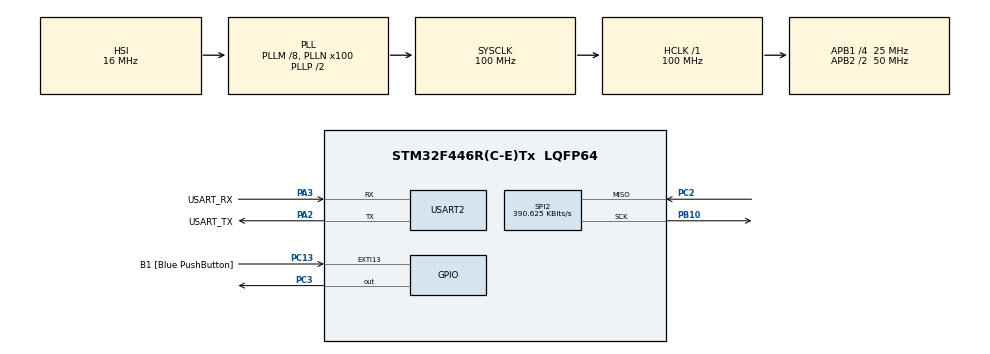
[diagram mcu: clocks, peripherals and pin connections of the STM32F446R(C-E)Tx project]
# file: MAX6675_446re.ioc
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Mcu.Family=STM32F4
Mcu.Name=STM32F446R(C-E)Tx
Mcu.Package=LQFP64
NVIC.PriorityGroup=NVIC_PRIORITYGROUP_0
NVIC.SPI2_IRQn=true\:0\:0\:false\:false\:true\:true\:true
PA13.GPIO_Label=TMS
PA13.Mode=Serial_Wire
PA13.Signal=SYS_JTMS-SWDIO
PA14.GPIO_Label=TCK
PA14.Mode=Serial_Wire
PA14.Signal=SYS_JTCK-SWCLK
PA2.GPIO_Label=USART_TX
PA2.Mode=Asynchronous
PA2.Signal=USART2_TX
PA3.GPIO_Label=USART_RX
PA3.Mode=Asynchronous
PA3.Signal=USART2_RX
PB10.GPIO_PuPd=GPIO_PULLUP
PB10.Mode=RX_Only_Simplex_Unidirect_Master
PB10.Signal=SPI2_SCK
PB3.GPIO_Label=SWO
PB3.Signal=SYS_JTDO-SWO
PC13.GPIO_Label=B1 [Blue PushButton]
PC13.GPIO_ModeDefaultEXTI=GPIO_MODE_IT_FALLING
PC13.Signal=GPXTI13
PC14-OSC32_IN.Mode=LSE-External-Oscillator
PC14-OSC32_IN.Signal=RCC_OSC32_IN
PC15-OSC32_OUT.Mode=LSE-External-Oscillator
PC15-OSC32_OUT.Signal=RCC_OSC32_OUT
PC2.GPIO_PuPd=GPIO_PULLDOWN
PC2.Mode=RX_Only_Simplex_Unidirect_Master
PC2.Signal=SPI2_MISO
PC3.Signal=GPIO_Output
PH0-OSC_IN.Mode=HSE-External-Oscillator
PH0-OSC_IN.Signal=RCC_OSC_IN
PH1-OSC_OUT.Mode=HSE-External-Oscillator
PH1-OSC_OUT.Signal=RCC_OSC_OUT
ProjectManager.HeapSize=0x200
ProjectManager.StackSize=0x400
ProjectManager.TargetToolchain=MDK-ARM V5.27
RCC.48MHZClocksFreq_Value=84000000
RCC.AHBFreq_Value=100000000
RCC.APB1CLKDivider=RCC_HCLK_DIV4
RCC.APB1Freq_Value=25000000
RCC.APB1TimFreq_Value=50000000
RCC.APB2CLKDivider=RCC_HCLK_DIV2
RCC.APB2Freq_Value=50000000
RCC.APB2TimFreq_Value=100000000
RCC.CortexFreq_Value=100000000
RCC.FLatency-AdvancedSettings=FLASH_LATENCY_3
RCC.HCLKFreq_Value=100000000
RCC.HSE_VALUE=8000000
RCC.HSI_VALUE=16000000
RCC.PLLM=8
RCC.PLLN=100
RCC.SYSCLKFreq_VALUE=100000000
RCC.SYSCLKSource=RCC_SYSCLKSOURCE_PLLCLK
RCC.USBFreq_Value=100000000
RCC.VCOOutputFreq_Value=200000000
SPI2.BaudRatePrescaler=SPI_BAUDRATEPRESCALER_64
SPI2.CalculateBaudRate=390.625 KBits/s
SPI2.DataSize=SPI_DATASIZE_8BIT
SPI2.Direction=SPI_DIRECTION_2LINES_RXONLY
SPI2.Mode=SPI_MODE_MASTER
SPI2.VirtualType=VM_MASTER
USART2.VirtualMode=VM_ASYNC
board=NUCLEO-F446RE

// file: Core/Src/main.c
/* USER CODE BEGIN Header */
/**
  ******************************************************************************
  * @file           : main.c
  * @brief          : Main program body
  ******************************************************************************
  * @attention
  *
  * <h2><center>&copy; Copyright (c) 2020 STMicroelectronics.
  * All rights reserved.</center></h2>
  *
  * This software component is licensed by ST under BSD 3-Clause license,
  * the "License"; You may not use this file except in compliance with the
  * License. You may obtain a copy of the License at:
  *                        opensource.org/licenses/BSD-3-Clause
  *
  ******************************************************************************
  */
/* USER CODE END Header */
#include "main.h"

SPI_HandleTypeDef hspi2;

UART_HandleTypeDef huart2;

/* USER CODE BEGIN PV */
uint8_t spirx_buff[2];
uint16_t temp=0;
uint16_t temperature=0;
/* USER CODE END PV */

void SystemClock_Config(void);
static void MX_GPIO_Init(void);
static void MX_USART2_UART_Init(void);
static void MX_SPI2_Init(void);

int main(void)
{

  /* MCU Configuration--------------------------------------------------------*/

  /* Reset of all peripherals, Initializes the Flash interface and the Systick. */
  HAL_Init();

  /* Configure the system clock */
  SystemClock_Config();

  /* Initialize all configured peripherals */
  MX_GPIO_Init();
  MX_USART2_UART_Init();
  MX_SPI2_Init();

  /* Infinite loop */
  /* USER CODE BEGIN WHILE */
  while (1)
  {
		HAL_GPIO_WritePin(GPIOC,GPIO_PIN_3,GPIO_PIN_SET);
	  HAL_Delay(1);
		if(HAL_SPI_GetState(&hspi2) != HAL_SPI_STATE_BUSY_RX)
		{
			HAL_GPIO_WritePin(GPIOC,GPIO_PIN_3,GPIO_PIN_RESET);
			HAL_Delay(1);

			if(HAL_SPI_GetState(&hspi2) == HAL_SPI_STATE_READY)
			{
			if(HAL_SPI_Receive(&hspi2,spirx_buff,2,10)!= HAL_OK)
			{
				Error_Handler();
			}
			}
		}
		HAL_GPIO_WritePin(GPIOC,GPIO_PIN_3,GPIO_PIN_SET);
		HAL_Delay(1);
		temp =  spirx_buff[0]<<8;
		temp =  temp|spirx_buff[1];
		temp = temp>>3;
		temperature=temp*0.25;
		HAL_UART_Transmit(&huart2,(uint8_t *)&temperature,2,10);
		HAL_Delay(500);

    /* USER CODE END WHILE */

  }
}

void SystemClock_Config(void)
{
  RCC_OscInitTypeDef RCC_OscInitStruct = {0};
  RCC_ClkInitTypeDef RCC_ClkInitStruct = {0};

  /** Configure the main internal regulator output voltage
  */
  __HAL_RCC_PWR_CLK_ENABLE();
  __HAL_PWR_VOLTAGESCALING_CONFIG(PWR_REGULATOR_VOLTAGE_SCALE3);
  /** Initializes the RCC Oscillators according to the specified parameters
  * in the RCC_OscInitTypeDef structure.
  */
  RCC_OscInitStruct.OscillatorType = RCC_OSCILLATORTYPE_HSI;
  RCC_OscInitStruct.HSIState = RCC_HSI_ON;
  RCC_OscInitStruct.HSICalibrationValue = RCC_HSICALIBRATION_DEFAULT;
  RCC_OscInitStruct.PLL.PLLState = RCC_PLL_ON;
  RCC_OscInitStruct.PLL.PLLSource = RCC_PLLSOURCE_HSI;
  RCC_OscInitStruct.PLL.PLLM = 8;
  RCC_OscInitStruct.PLL.PLLN = 100;
  RCC_OscInitStruct.PLL.PLLP = RCC_PLLP_DIV2;
  RCC_OscInitStruct.PLL.PLLQ = 2;
  RCC_OscInitStruct.PLL.PLLR = 2;
  if (HAL_RCC_OscConfig(&RCC_OscInitStruct) != HAL_OK)
  {
    Error_Handler();
  }
  /** Initializes the CPU, AHB and APB buses clocks
  */
  RCC_ClkInitStruct.ClockType = RCC_CLOCKTYPE_HCLK|RCC_CLOCKTYPE_SYSCLK
                              |RCC_CLOCKTYPE_PCLK1|RCC_CLOCKTYPE_PCLK2;
  RCC_ClkInitStruct.SYSCLKSource = RCC_SYSCLKSOURCE_PLLCLK;
  RCC_ClkInitStruct.AHBCLKDivider = RCC_SYSCLK_DIV1;
  RCC_ClkInitStruct.APB1CLKDivider = RCC_HCLK_DIV4;
  RCC_ClkInitStruct.APB2CLKDivider = RCC_HCLK_DIV2;

  if (HAL_RCC_ClockConfig(&RCC_ClkInitStruct, FLASH_LATENCY_3) != HAL_OK)
  {
    Error_Handler();
  }
}

static void MX_SPI2_Init(void)
{

  /* SPI2 parameter configuration*/
  hspi2.Instance = SPI2;
  hspi2.Init.Mode = SPI_MODE_MASTER;
  hspi2.Init.Direction = SPI_DIRECTION_2LINES_RXONLY;
  hspi2.Init.DataSize = SPI_DATASIZE_8BIT;
  hspi2.Init.CLKPolarity = SPI_POLARITY_LOW;
  hspi2.Init.CLKPhase = SPI_PHASE_1EDGE;
  hspi2.Init.NSS = SPI_NSS_SOFT;
  hspi2.Init.BaudRatePrescaler = SPI_BAUDRATEPRESCALER_64;
  hspi2.Init.FirstBit = SPI_FIRSTBIT_MSB;
  hspi2.Init.TIMode = SPI_TIMODE_DISABLE;
  hspi2.Init.CRCCalculation = SPI_CRCCALCULATION_DISABLE;
  hspi2.Init.CRCPolynomial = 10;
  if (HAL_SPI_Init(&hspi2) != HAL_OK)
  {
    Error_Handler();
  }

}

static void MX_USART2_UART_Init(void)
{

  huart2.Instance = USART2;
  huart2.Init.BaudRate = 115200;
  huart2.Init.WordLength = UART_WORDLENGTH_8B;
  huart2.Init.StopBits = UART_STOPBITS_1;
  huart2.Init.Parity = UART_PARITY_NONE;
  huart2.Init.Mode = UART_MODE_TX_RX;
  huart2.Init.HwFlowCtl = UART_HWCONTROL_NONE;
  huart2.Init.OverSampling = UART_OVERSAMPLING_16;
  if (HAL_UART_Init(&huart2) != HAL_OK)
  {
    Error_Handler();
  }

}

static void MX_GPIO_Init(void)
{
  GPIO_InitTypeDef GPIO_InitStruct = {0};

  /* GPIO Ports Clock Enable */
  __HAL_RCC_GPIOC_CLK_ENABLE();
  __HAL_RCC_GPIOH_CLK_ENABLE();
  __HAL_RCC_GPIOA_CLK_ENABLE();
  __HAL_RCC_GPIOB_CLK_ENABLE();

  /*Configure GPIO pin Output Level */
  HAL_GPIO_WritePin(GPIOC, GPIO_PIN_3, GPIO_PIN_RESET);

  /*Configure GPIO pin : B1_Pin */
  GPIO_InitStruct.Pin = B1_Pin;
  GPIO_InitStruct.Mode = GPIO_MODE_IT_FALLING;
  GPIO_InitStruct.Pull = GPIO_NOPULL;
  HAL_GPIO_Init(B1_GPIO_Port, &GPIO_InitStruct);

  /*Configure GPIO pin : PC3 */
  GPIO_InitStruct.Pin = GPIO_PIN_3;
  GPIO_InitStruct.Mode = GPIO_MODE_OUTPUT_PP;
  GPIO_InitStruct.Pull = GPIO_NOPULL;
  GPIO_InitStruct.Speed = GPIO_SPEED_FREQ_LOW;
  HAL_GPIO_Init(GPIOC, &GPIO_InitStruct);

}

void Error_Handler(void)
{
}

/************************ (C) COPYRIGHT STMicroelectronics *****END OF FILE****/
